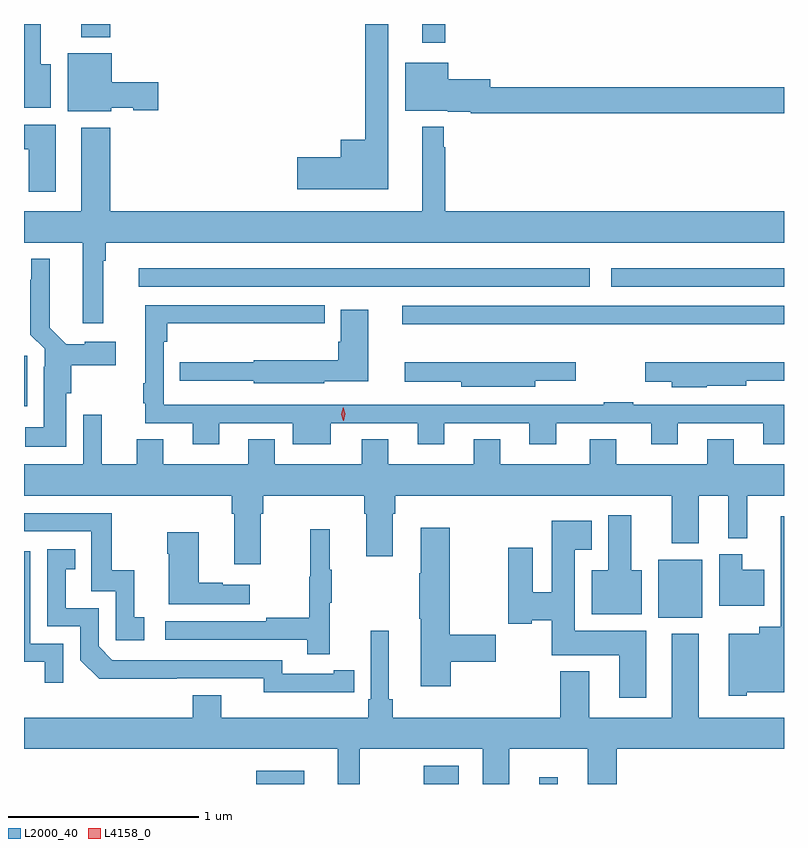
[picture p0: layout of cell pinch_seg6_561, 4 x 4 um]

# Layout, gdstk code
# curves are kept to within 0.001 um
import gdstk
lib = gdstk.Library(unit=1e-6, precision=1e-09)
def R(c, l, rs):  # rectangles x0, y0, x1, y1
    for r in rs: c.add(gdstk.rectangle(r[:2], r[2:], *l))
def P(c, l, *ps):  # polygons
    for p in ps: c.add(gdstk.Polygon(p, *l))
L2000_40 = (2000, 40)
L4158_0 = (4158, 0)

pinch_seg6_561 = lib.new_cell('pinch_seg6_561')
R(pinch_seg6_561, L2000_40, [(589.604,967.13,589.855,967.201), (590.486,967.13,590.668,967.225), (591.092,967.13,591.19,967.165), (591.719,968.006,591.952,968.311), (588.381,969.117,588.397,969.385), (590.373,969.551,592.381,969.648), (588.984,969.747,591.358,969.844), (591.471,969.747,592.381,969.844), (590.477,971.031,590.599,971.13), (588.683,971.06,588.836,971.13)])
P(pinch_seg6_561, L2000_40, [(588.523,970.918),(588.469,970.918),(588.469,971.13),(588.381,971.13),(588.381,970.688),(588.523,970.688)],
  [(590.299,971.13),(590.178,971.13),(590.178,970.522),(590.048,970.522),(590.048,970.43),(589.818,970.43),(589.818,970.259),(590.299,970.259)],
  [(588.84,970.688),(588.957,970.688),(588.957,970.676),(589.087,970.676),(589.087,970.823),(588.844,970.823),(588.844,970.975),(588.611,970.975),(588.611,970.67),(588.84,970.67)],
  [(592.381,970.796),(590.836,970.796),(590.836,970.839),(590.614,970.839),(590.614,970.927),(590.387,970.927),(590.387,970.673),(590.61,970.673),(590.61,970.667),(590.732,970.667),(590.732,970.66),(592.381,970.66)],
  [(588.547,970.6),(588.381,970.6),(588.381,970.472),(588.407,970.472),(588.407,970.248),(588.547,970.248)],
  [(588.799,969.884),(588.812,969.884),(588.812,969.98),(592.381,969.98),(592.381,970.144),(590.599,970.144),(590.599,970.481),(590.591,970.481),(590.591,970.588),(590.477,970.588),(590.477,970.144),(588.836,970.144),(588.836,970.585),(588.683,970.585),(588.683,970.144),(588.381,970.144),(588.381,969.98),(588.689,969.98),(588.689,969.555),(588.799,969.555)],
  [(588.604,969.186),(588.63,969.186),(588.63,969.335),(588.865,969.335),(588.865,969.457),(588.702,969.457),(588.702,969.445),(588.603,969.445),(588.517,969.532),(588.517,969.895),(588.419,969.895),(588.419,969.785),(588.415,969.785),(588.415,969.494),(588.489,969.42),(588.489,969.326),(588.485,969.326),(588.485,969.007),(588.387,969.007),(588.387,968.906),(588.604,968.906)],
  [(589.408,969.03),(589.796,969.03),(589.796,968.918),(589.996,968.918),(589.996,969.03),(590.453,969.03),(590.453,968.918),(590.593,968.918),(590.593,969.03),(591.041,969.03),(591.041,968.918),(591.181,968.918),(591.181,969.03),(591.683,969.03),(591.683,968.918),(591.823,968.918),(591.823,969.03),(592.271,969.03),(592.271,968.918),(592.381,968.918),(592.381,969.126),(591.587,969.126),(591.587,969.139),(591.432,969.139),(591.432,969.126),(589.116,969.126),(589.116,969.458),(589.136,969.458),(589.136,969.554),(589.963,969.554),(589.963,969.651),(589.019,969.651),(589.019,969.239),(589.008,969.239),(589.008,969.133),(589.018,969.133),(589.018,969.03),(589.268,969.03),(589.268,968.918),(589.408,968.918)],
  [(589.962,969.251),(590.194,969.251),(590.194,969.625),(590.048,969.625),(590.048,969.458),(590.036,969.458),(590.036,969.361),(589.59,969.361),(589.59,969.35),(589.201,969.35),(589.201,969.253),(589.312,969.253),(589.312,969.252),(589.59,969.252),(589.59,969.239),(589.962,969.239)],
  [(591.072,969.252),(591.286,969.252),(591.286,969.35),(590.972,969.35),(590.972,969.349),(590.385,969.349),(590.385,969.248),(590.682,969.248),(590.682,969.221),(591.072,969.221)],
  [(591.975,969.227),(592.182,969.227),(592.182,969.252),(592.381,969.252),(592.381,969.35),(592.082,969.35),(592.082,969.349),(591.651,969.349),(591.651,969.248),(591.791,969.248),(591.791,969.218),(591.975,969.218)],
  [(589.627,968.552),(589.64,968.552),(589.64,968.648),(590.171,968.648),(590.171,968.552),(590.183,968.552),(590.183,968.328),(590.323,968.328),(590.323,968.552),(590.336,968.552),(590.336,968.648),(591.791,968.648),(591.791,968.396),(591.931,968.396),(591.931,968.648),(592.088,968.648),(592.088,968.423),(592.187,968.423),(592.187,968.648),(592.381,968.648),(592.381,968.812),(592.117,968.812),(592.117,968.945),(591.977,968.945),(591.977,968.812),(591.499,968.812),(591.499,968.945),(591.359,968.945),(591.359,968.812),(590.887,968.812),(590.887,968.945),(590.747,968.945),(590.747,968.812),(590.299,968.812),(590.299,968.945),(590.159,968.945),(590.159,968.812),(589.702,968.812),(589.702,968.945),(589.562,968.945),(589.562,968.812),(589.114,968.812),(589.114,968.945),(588.974,968.945),(588.974,968.812),(588.791,968.812),(588.791,969.073),(588.693,969.073),(588.693,968.812),(588.381,968.812),(588.381,968.648),(589.475,968.648),(589.475,968.552),(589.487,968.552),(589.487,968.286),(589.627,968.286)],
  [(589.015,968.007),(588.962,968.007),(588.962,968.254),(588.844,968.254),(588.844,968.556),(588.381,968.556),(588.381,968.46),(588.735,968.46),(588.735,968.145),(588.864,968.145),(588.864,967.887),(589.015,967.887)],
  [(591.631,968.254),(591.577,968.254),(591.577,968.545),(591.455,968.545),(591.455,968.254),(591.368,968.254),(591.368,968.024),(591.631,968.024)],
  [(592.185,967.613),(592.381,967.613),(592.381,968.539),(592.365,968.539),(592.365,967.957),(592.25,967.957),(592.25,967.921),(592.091,967.921),(592.091,967.595),(592.185,967.595)],
  [(591.655,967.936),(591.28,967.936),(591.28,968.363),(591.37,968.363),(591.37,968.515),(591.158,968.515),(591.158,968.138),(591.058,968.138),(591.058,968.374),(590.929,968.374),(590.929,967.973),(591.054,967.973),(591.054,967.991),(591.158,967.991),(591.158,967.808),(591.515,967.808),(591.515,967.584),(591.655,967.584)],
  [(590.627,967.774),(590.863,967.774),(590.863,967.916),(590.622,967.916),(590.622,968.479),(590.468,968.479),(590.468,968.24),(590.461,968.24),(590.461,967.999),(590.468,967.999),(590.468,967.644),(590.627,967.644)],
  [(589.991,968.083),(590.002,968.083),(590.002,968.257),(589.991,968.257),(589.991,968.47),(589.888,968.47),(589.888,968.22),(589.881,968.22),(589.881,968.006),(589.657,968.006),(589.657,967.986),(589.125,967.986),(589.125,967.89),(589.873,967.89),(589.873,967.812),(589.991,967.812)],
  [(589.57,968.179),(589.427,968.179),(589.427,968.189),(589.3,968.189),(589.3,968.455),(589.135,968.455),(589.135,968.342),(589.142,968.342),(589.142,968.075),(589.57,968.075)],
  [(590.012,967.614),(590.12,967.614),(590.12,967.73),(590.012,967.73),(590.012,967.71),(589.74,967.71),(589.74,967.782),(588.846,967.782),(588.774,967.854),(588.774,968.055),(588.601,968.055),(588.601,968.259),(588.65,968.259),(588.65,968.365),(588.504,968.365),(588.504,967.959),(588.678,967.959),(588.678,967.782),(588.776,967.685),(589.644,967.686),(589.644,967.613)],
  [(588.588,967.869),(588.414,967.869),(588.414,968.355),(588.381,968.355),(588.381,967.773),(588.491,967.773),(588.491,967.662),(588.588,967.662)],
  [(592.276,968.257),(592.162,968.257),(592.162,968.338),(592.04,968.338),(592.04,968.069),(592.276,968.069)],
  [(590.147,967.316),(590.795,967.316),(590.795,967.13),(590.935,967.13),(590.935,967.316),(591.347,967.316),(591.347,967.13),(591.5,967.13),(591.5,967.316),(592.381,967.316),(592.381,967.48),(591.931,967.48),(591.931,967.921),(591.791,967.921),(591.791,967.48),(591.355,967.48),(591.355,967.723),(591.203,967.723),(591.203,967.48),(590.321,967.48),(590.321,967.576),(590.302,967.576),(590.302,967.936),(590.205,967.936),(590.205,967.576),(590.192,967.576),(590.192,967.48),(589.42,967.48),(589.42,967.597),(589.268,967.597),(589.268,967.48),(588.381,967.48),(588.381,967.316),(590.033,967.316),(590.033,967.13),(590.147,967.13)])
P(pinch_seg6_561, L4158_0, [(590.062,969.042),(590.062,969.042),(590.051,969.077),(590.06,969.113),(590.06,969.113),(590.06,969.113),(590.071,969.078),(590.063,969.042)])

lib.write_gds('pinch_seg6_561.gds')
